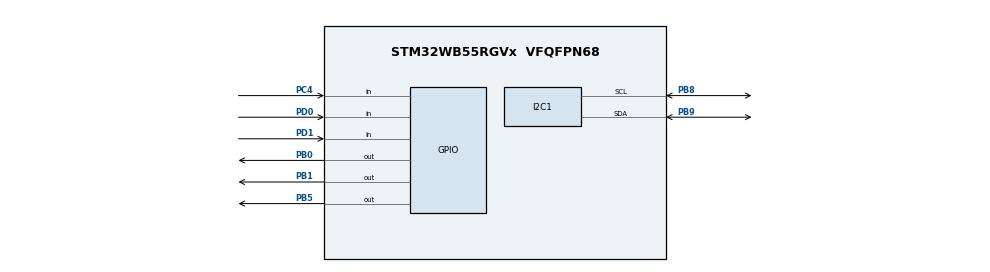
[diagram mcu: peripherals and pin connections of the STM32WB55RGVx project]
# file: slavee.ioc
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I2C1.I2C_Fall_Time=0
I2C1.I2C_Rise_Time=0
I2C1.OwnAddress=0x28
I2C1.Timing=0x20404768
Mcu.Family=STM32WB
Mcu.Name=STM32WB55RGVx
Mcu.Package=VFQFPN68
NUCLEO-WB55RG.BUTTON=1
NUCLEO-WB55RG.BUTTON2=1
NUCLEO-WB55RG.BUTTON3=1
NUCLEO-WB55RG.LD1=true
NUCLEO-WB55RG.LD2=true
NUCLEO-WB55RG.LD3=true
NUCLEO-WB55RG.VCP=true
NVIC.I2C1_ER_IRQn=true\:0\:0\:false\:false\:true\:true\:true\:true
NVIC.I2C1_EV_IRQn=true\:0\:0\:false\:false\:true\:true\:true\:true
NVIC.PriorityGroup=NVIC_PRIORITYGROUP_4
OSC_IN.GPIO_Label=RCC_OSC_IN
OSC_IN.Signal=RCC_OSC_IN
OSC_OUT.GPIO_Label=RCC_OSC_OUT
OSC_OUT.Signal=RCC_OSC_OUT
PA11.GPIO_Label=USB_DM
PA11.Signal=USB_DM
PA12.GPIO_Label=USB_DP
PA12.Signal=USB_DP
PA13.GPIO_Label=JTMS
PA13.Signal=SYS_JTMS-SWDIO
PA14.GPIO_Label=JTCK
PA14.Signal=SYS_JTCK-SWCLK
PB0.Signal=GPIO_Output
PB1.Signal=GPIO_Output
PB3.GPIO_Label=JTDO
PB3.Signal=SYS_JTDO-SWO
PB5.Signal=GPIO_Output
PB6.Signal=USART1_TX
PB7.Signal=USART1_RX
PB8.GPIO_Pu=GPIO_PULLUP
PB8.GPIO_Speed=GPIO_SPEED_FREQ_VERY_HIGH
PB8.Mode=I2C
PB8.Signal=I2C1_SCL
PB9.GPIO_Pu=GPIO_PULLUP
PB9.GPIO_Speed=GPIO_SPEED_FREQ_VERY_HIGH
PB9.Mode=I2C
PB9.Signal=I2C1_SDA
PC13.GPIO_Label=SYS_WKUP2
PC13.Signal=SYS_WKUP2
PC14-OSC32_IN.GPIO_Label=RCC_OSC32_IN
PC14-OSC32_IN.Signal=RCC_OSC32_IN
PC15-OSC32_OUT.GPIO_Label=RCC_OSC32_OUT
PC15-OSC32_OUT.Signal=RCC_OSC32_OUT
PC4.Signal=GPIO_Input
PD0.Signal=GPIO_Input
PD1.Signal=GPIO_Input
ProjectManager.HeapSize=0x200
ProjectManager.StackSize=0x400
ProjectManager.TargetToolchain=STM32CubeIDE
RCC.ADCFreq_Value=16000000
RCC.AHB2CLKDivider=RCC_SYSCLK_DIV2
RCC.AHBFreq_Value=54000000
RCC.APB1Freq_Value=54000000
RCC.APB1TimFreq_Value=54000000
RCC.APB2Freq_Value=54000000
RCC.APB2TimFreq_Value=54000000
RCC.APB3Freq_Value=16000000
RCC.Cortex2_Div=SYSTICK_CLKSOURCE_HCLK_DIV8
RCC.CortexFreq_Value=54000000
RCC.HCLKFreq_Value=54000000
RCC.HSE_VALUE=32000000
RCC.HSI48_VALUE=48000000
RCC.HSI_VALUE=16000000
RCC.LSE_VALUE=32768
RCC.PLLN=27
RCC.PWREXT_OverDrive=PWREXT_OverDrive_ACTIVATED
RCC.RCC_TIM_PRescaler_Selection=RCC_TIMPRES_DESACTIVATED
RCC.SMPSCLockSelection=RCC_SMPSCLKSOURCE_HSI
RCC.SMPSCLockSelectionVirtual=RCC_SMPSCLKSOURCE_HSI
RCC.SMPSCLockSelectionVirtualVirtual=RCC_SMPSCLKSOURCE_HSI
RCC.SMPSDivider=1
RCC.SYSCLKFreq_VALUE=54000000
RCC.SYSCLKSource=RCC_SYSCLKSOURCE_PLLCLK
RCC.USBFreq_Value=16000000
RCC.VCOOutputFreq_Value=108000000
VP_MEMORYMAP_VS_MEMORYMAP.Mode=CurAppReg
VP_NUCLEO-WB55RG_VS_BSP_COMMON.Mode=COMMON
board=NUCLEO-WB55RG

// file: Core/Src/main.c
/* USER CODE BEGIN Header */
/**
  ******************************************************************************
  * @file           : main.c
  * @brief          : Main program body
  ******************************************************************************
  * @attention
  *
  * Copyright (c) 2026 STMicroelectronics.
  * All rights reserved.
  *
  * This software is licensed under terms that can be found in the LICENSE file
  * in the root directory of this software component.
  * If no LICENSE file comes with this software, it is provided AS-IS.
  *
  ******************************************************************************
  */
/* USER CODE END Header */
#include "main.h"

COM_InitTypeDef BspCOMInit;
I2C_HandleTypeDef hi2c1;

/* USER CODE BEGIN PV */
uint8_t RX_Buffer[1];
uint8_t TX_Frame[5];   // [MSG_TYPE, RSSI, ERR, STATUS, CS]
uint8_t RX_Frame[5];
/* USER CODE END PV */

void SystemClock_Config(void);
void PeriphCommonClock_Config(void);
static void MX_GPIO_Init(void);
static void MX_I2C1_Init(void);

/* USER CODE BEGIN 0 */
uint8_t CalcChecksum(uint8_t *buf, uint8_t len)
{
    uint8_t cs = 0;
    for (uint8_t i = 0; i < len; i++)
        cs ^= buf[i];
    return cs;
}

void BuildStatusFrame(void)
{
    int8_t  rssi   = -65;  // zatiaľ natvrdo, neskôr z BLE stacku
    uint8_t err    = 3;    // testovacia hodnota
    uint8_t status = 0x01; // bit0 = link UP

    TX_Frame[0] = 0x01;          // MSG_TYPE = BLE_STATUS
    TX_Frame[1] = (uint8_t)rssi;
    TX_Frame[2] = err;
    TX_Frame[3] = status;
    TX_Frame[4] = CalcChecksum(TX_Frame, 4);
}

typedef struct {
    uint16_t rtt_ms;
    uint16_t loss_permille;
    int16_t rssi;
    uint16_t jitter_ms;
} metrics_t;

metrics_t metrics;
uint8_t  metrics_buf[8];

void metrics_update_buffer(void)
{
    metrics_buf[0] = metrics.rtt_ms >> 8;
    metrics_buf[1] = metrics.rtt_ms & 0xFF;
    metrics_buf[2] = metrics.loss_permille >> 8;
    metrics_buf[3] = metrics.loss_permille & 0xFF;
    metrics_buf[4] = metrics.rssi >> 8;
    metrics_buf[5] = metrics.rssi & 0xFF;
    metrics_buf[6] = metrics.jitter_ms >> 8;
    metrics_buf[7] = metrics.jitter_ms & 0xFF;
}

#define PING_INTERVAL_MS  100
#define WINDOW_MS         2000
#define LOSS_THRESHOLD_PM 300

typedef struct {
    uint16_t id;
    uint32_t t_send_ms;
} ping_entry_t;

#define PING_TABLE_SIZE 16

static ping_entry_t ping_table[PING_TABLE_SIZE];
static uint16_t next_ping_id;
static uint32_t sent_pings, received_pongs, sum_rtt_ms;
static uint32_t now_ms, window_start_ms, last_ping_ms;

uint32_t get_time_ms(void) { return HAL_GetTick(); } // stačí SysTick
void link_send_ble(uint8_t *data, uint16_t len); // už máš v svojom BLE code

void send_ping(void)
{
    now_ms = get_time_ms();
    uint16_t id = next_ping_id++;

    ping_entry_t *e = &ping_table[id % PING_TABLE_SIZE];
    e->id = id;
    e->t_send_ms = now_ms;

    uint8_t frame[3];
    frame[0] = 0x10;           // ping
    frame[1] = id >> 8;
    frame[2] = id & 0xFF;

    link_send_ble(frame, 3);
    sent_pings++;
}

void on_ble_frame_rx(uint8_t *data, uint16_t len)
{
    if (len < 3) return;
    uint8_t  type = data[0];
    uint16_t id   = (data[1] << 8) | data[2];

    if (type == 0x11) { // pong
        now_ms = get_time_ms();
        ping_entry_t *e = &ping_table[id % PING_TABLE_SIZE];
        if (e->id != id) return;

        uint32_t rtt = now_ms - e->t_send_ms;
        sum_rtt_ms += rtt;
        received_pongs++;
        e->id = 0xFFFF;
    }
}

void compute_window_metrics(void)
{
    uint32_t lost = (sent_pings > received_pongs)
                    ? (sent_pings - received_pongs) : 0;

    uint16_t loss_pm = 0;
    if (sent_pings > 0)
        loss_pm = (uint16_t)((lost * 1000U) / sent_pings);

    uint16_t avg_rtt = 0;
    if (received_pongs > 0)
        avg_rtt = (uint16_t)(sum_rtt_ms / received_pongs);

    metrics.rtt_ms        = avg_rtt;
    metrics.loss_permille = loss_pm;
    metrics.rssi          = -65; // zatiaľ natvrdo, neskôr z BLE RSSI API[web:369][web:393]
    metrics.jitter_ms     = 0;               // môžeš dopočítať neskôr z variácie RTT
}

void reset_window(void)
{
    window_start_ms = now_ms;
    sent_pings = received_pongs = sum_rtt_ms = 0;
}

void link_probe_task(void)
{
    now_ms = get_time_ms();

    if ((now_ms - last_ping_ms) >= PING_INTERVAL_MS) {
        send_ping();
        last_ping_ms = now_ms;
    }

    if ((now_ms - window_start_ms) >= WINDOW_MS) {
        compute_window_metrics();
        reset_window();
    }
}

static uint8_t bt_frame[8];

static uint8_t BT_I2C_CalcChecksum(const uint8_t *buf, uint8_t len)
{
    uint8_t cs = 0;
    for (uint8_t i = 0; i < len; i++)
        cs ^= buf[i];
    return cs;
}

static void BT_I2C_BuildFrame(void)
{
    bt_frame[0] = 0xA5;   // header
    bt_frame[1] = (uint8_t)((int8_t)metrics.rssi);
    bt_frame[2] = (uint8_t)(metrics.loss_permille >> 8);
    bt_frame[3] = (uint8_t)(metrics.loss_permille & 0xFF);
    bt_frame[4] = (uint8_t)(metrics.rtt_ms >> 8);
    bt_frame[5] = (uint8_t)(metrics.rtt_ms & 0xFF);
    bt_frame[6] = (uint8_t)(metrics.jitter_ms & 0xFF); // zatiaľ len LSB jitteru
    bt_frame[7] = BT_I2C_CalcChecksum(bt_frame, 7);
}
/* USER CODE END 0 */

int main(void)
{

  /* MCU Configuration--------------------------------------------------------*/

  /* Reset of all peripherals, Initializes the Flash interface and the Systick. */
  HAL_Init();

  /* Configure the system clock */
  SystemClock_Config();

  /* Configure the peripherals common clocks */
  PeriphCommonClock_Config();

  /* Initialize all configured peripherals */
  MX_GPIO_Init();
  MX_I2C1_Init();
  /* USER CODE BEGIN 2 */

  HAL_StatusTypeDef ret;

  BSP_LED_Init(LED_GREEN);
  BSP_LED_Init(LED_RED);
  /* USER CODE END 2 */

  /* Initialize leds */
  BSP_LED_Init(LED_BLUE);
  BSP_LED_Init(LED_GREEN);
  BSP_LED_Init(LED_RED);

  /* Initialize USER push-button, will be used to trigger an interrupt each time it's pressed.*/
  BSP_PB_Init(BUTTON_SW1, BUTTON_MODE_EXTI);
  BSP_PB_Init(BUTTON_SW2, BUTTON_MODE_EXTI);
  BSP_PB_Init(BUTTON_SW3, BUTTON_MODE_EXTI);

  /* Initialize COM1 port (115200, 8 bits (7-bit data + 1 stop bit), no parity */
  BspCOMInit.BaudRate   = 115200;
  BspCOMInit.WordLength = COM_WORDLENGTH_8B;
  BspCOMInit.StopBits   = COM_STOPBITS_1;
  BspCOMInit.Parity     = COM_PARITY_NONE;
  BspCOMInit.HwFlowCtl  = COM_HWCONTROL_NONE;
  if (BSP_COM_Init(COM1, &BspCOMInit) != BSP_ERROR_NONE)
  {
    Error_Handler();
  }

  /* Infinite loop */
  /* USER CODE BEGIN WHILE */

  while (1)
  {
      metrics.rtt_ms = 42;
      metrics.loss_permille = 15;
      metrics.rssi = -65;
      metrics.jitter_ms = 3;

      BT_I2C_BuildFrame();
      HAL_I2C_Slave_Transmit(&hi2c1, bt_frame, sizeof(bt_frame), HAL_MAX_DELAY);
  }
  /* USER CODE END 3 */
}

void SystemClock_Config(void)
{
  RCC_OscInitTypeDef RCC_OscInitStruct = {0};
  RCC_ClkInitTypeDef RCC_ClkInitStruct = {0};

  /** Configure the main internal regulator output voltage
  */
  __HAL_PWR_VOLTAGESCALING_CONFIG(PWR_REGULATOR_VOLTAGE_SCALE1);

  /** Initializes the RCC Oscillators according to the specified parameters
  * in the RCC_OscInitTypeDef structure.
  */
  RCC_OscInitStruct.OscillatorType = RCC_OSCILLATORTYPE_HSI|RCC_OSCILLATORTYPE_MSI;
  RCC_OscInitStruct.HSIState = RCC_HSI_ON;
  RCC_OscInitStruct.MSIState = RCC_MSI_ON;
  RCC_OscInitStruct.HSICalibrationValue = RCC_HSICALIBRATION_DEFAULT;
  RCC_OscInitStruct.MSICalibrationValue = RCC_MSICALIBRATION_DEFAULT;
  RCC_OscInitStruct.MSIClockRange = RCC_MSIRANGE_6;
  RCC_OscInitStruct.PLL.PLLState = RCC_PLL_ON;
  RCC_OscInitStruct.PLL.PLLSource = RCC_PLLSOURCE_MSI;
  RCC_OscInitStruct.PLL.PLLM = RCC_PLLM_DIV1;
  RCC_OscInitStruct.PLL.PLLN = 27;
  RCC_OscInitStruct.PLL.PLLP = RCC_PLLP_DIV2;
  RCC_OscInitStruct.PLL.PLLR = RCC_PLLR_DIV2;
  RCC_OscInitStruct.PLL.PLLQ = RCC_PLLQ_DIV2;
  if (HAL_RCC_OscConfig(&RCC_OscInitStruct) != HAL_OK)
  {
    Error_Handler();
  }

  /** Configure the SYSCLKSource, HCLK, PCLK1 and PCLK2 clocks dividers
  */
  RCC_ClkInitStruct.ClockType = RCC_CLOCKTYPE_HCLK4|RCC_CLOCKTYPE_HCLK2
                              |RCC_CLOCKTYPE_HCLK|RCC_CLOCKTYPE_SYSCLK
                              |RCC_CLOCKTYPE_PCLK1|RCC_CLOCKTYPE_PCLK2;
  RCC_ClkInitStruct.SYSCLKSource = RCC_SYSCLKSOURCE_PLLCLK;
  RCC_ClkInitStruct.AHBCLKDivider = RCC_SYSCLK_DIV1;
  RCC_ClkInitStruct.APB1CLKDivider = RCC_HCLK_DIV1;
  RCC_ClkInitStruct.APB2CLKDivider = RCC_HCLK_DIV1;
  RCC_ClkInitStruct.AHBCLK2Divider = RCC_SYSCLK_DIV2;
  RCC_ClkInitStruct.AHBCLK4Divider = RCC_SYSCLK_DIV1;

  if (HAL_RCC_ClockConfig(&RCC_ClkInitStruct, FLASH_LATENCY_2) != HAL_OK)
  {
    Error_Handler();
  }
}

void PeriphCommonClock_Config(void)
{
  RCC_PeriphCLKInitTypeDef PeriphClkInitStruct = {0};

  /** Initializes the peripherals clock
  */
  PeriphClkInitStruct.PeriphClockSelection = RCC_PERIPHCLK_SMPS;
  PeriphClkInitStruct.SmpsClockSelection = RCC_SMPSCLKSOURCE_HSI;
  PeriphClkInitStruct.SmpsDivSelection = RCC_SMPSCLKDIV_RANGE0;

  if (HAL_RCCEx_PeriphCLKConfig(&PeriphClkInitStruct) != HAL_OK)
  {
    Error_Handler();
  }
}

static void MX_I2C1_Init(void)
{

  hi2c1.Instance = I2C1;
  hi2c1.Init.Timing = 0x20404768;
  hi2c1.Init.OwnAddress1 = 80;
  hi2c1.Init.AddressingMode = I2C_ADDRESSINGMODE_7BIT;
  hi2c1.Init.DualAddressMode = I2C_DUALADDRESS_DISABLE;
  hi2c1.Init.OwnAddress2 = 0;
  hi2c1.Init.OwnAddress2Masks = I2C_OA2_NOMASK;
  hi2c1.Init.GeneralCallMode = I2C_GENERALCALL_DISABLE;
  hi2c1.Init.NoStretchMode = I2C_NOSTRETCH_DISABLE;
  if (HAL_I2C_Init(&hi2c1) != HAL_OK)
  {
    Error_Handler();
  }

  /** Configure Analogue filter
  */
  if (HAL_I2CEx_ConfigAnalogFilter(&hi2c1, I2C_ANALOGFILTER_ENABLE) != HAL_OK)
  {
    Error_Handler();
  }

  /** Configure Digital filter
  */
  if (HAL_I2CEx_ConfigDigitalFilter(&hi2c1, 0) != HAL_OK)
  {
    Error_Handler();
  }

}

static void MX_GPIO_Init(void)
{
  GPIO_InitTypeDef GPIO_InitStruct = {0};

  /* GPIO Ports Clock Enable */
  __HAL_RCC_GPIOC_CLK_ENABLE();
  __HAL_RCC_GPIOB_CLK_ENABLE();
  __HAL_RCC_GPIOA_CLK_ENABLE();

  /*Configure GPIO pins : USB_DM_Pin USB_DP_Pin */
  GPIO_InitStruct.Pin = USB_DM_Pin|USB_DP_Pin;
  GPIO_InitStruct.Mode = GPIO_MODE_AF_PP;
  GPIO_InitStruct.Pull = GPIO_NOPULL;
  GPIO_InitStruct.Speed = GPIO_SPEED_FREQ_LOW;
  GPIO_InitStruct.Alternate = GPIO_AF10_USB;
  HAL_GPIO_Init(GPIOA, &GPIO_InitStruct);

}

void Error_Handler(void)
{
  __disable_irq();
  while (1)
  {
  }
}
